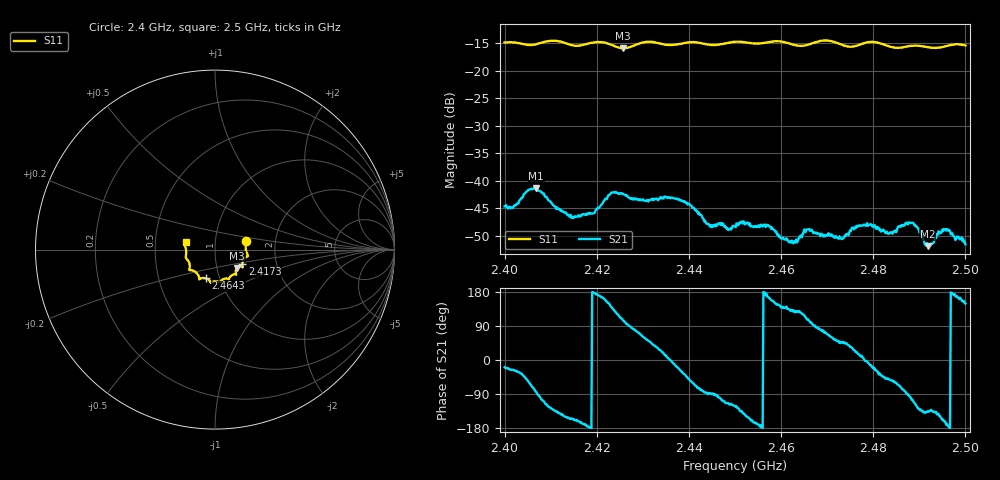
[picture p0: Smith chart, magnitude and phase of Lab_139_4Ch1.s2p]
# Hz S RI R 50
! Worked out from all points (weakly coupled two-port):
!   601 points, 2.4 GHz to 2.5 GHz, reference 50 ohm
!   highest |S21| = -41.32 dB at 2.4068 GHz (marker M1); lowest = -51.8 dB at 2.4918 GHz (marker M2)
!   lowest |S11| = -15.9 dB at 2.4257 GHz (marker M3), VSWR 1.38, Z = 62.5 - j13.1 ohm
!   |S11| at or under -10 dB: start of sweep to end of sweep
!   S12 and S22 are empty: the file has one direction only
!   S11 on the Smith chart (normalised r, x): 2.4 GHz: 1.41, +0.14; 2.4173 GHz: 1.34, -0.23; 2.4643 GHz: 0.86, -0.28; 2.5 GHz: 0.72, +0.06
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2.4e9  0.1732 0.0488  0.00556 -0.00191  0 0  0 0
2.406833e9  0.1734 -0.00819  0.000873 -0.00855  0 0  0 0
2.414e9  0.1662 -0.0473  -0.00436 -0.00217  0 0  0 0
2.416667e9  0.1526 -0.0749  -0.00467 -0.00126  0 0  0 0
2.417333e9  0.1516 -0.0822  -0.00489 -0.00085  0 0  0 0
2.423333e9  0.1427 -0.0938  -0.00572 0.00533  0 0  0 0
2.425667e9  0.1229 -0.1021  -0.00194 0.00738  0 0  0 0
2.433333e9  0.1127 -0.1376  0.00577 0.00337  0 0  0 0
2.4395e9  0.0791 -0.1614  0.00454 -0.00444  0 0  0 0
2.444667e9  0.0583 -0.1612  0.000141 -0.00384  0 0  0 0
2.45e9  0.0288 -0.181  -0.00202 -0.00329  0 0  0 0
2.457e9  -0.014 -0.1803  -0.00391 0.00083  0 0  0 0
2.462167e9  -0.0309 -0.1717  -0.00184 0.00204  0 0  0 0
2.464333e9  -0.0498 -0.1604  -0.0018 0.00264  0 0  0 0
2.466667e9  -0.0759 -0.1592  -0.00039 0.00358  0 0  0 0
2.473e9  -0.0909 -0.1468  0.00207 0.00216  0 0  0 0
2.479167e9  -0.1415 -0.1145  0.0039 -0.000762  0 0  0 0
2.483333e9  -0.1407 -0.09  0.00211 -0.00256  0 0  0 0
2.488333e9  -0.1612 -0.0485  -0.00106 -0.00404  0 0  0 0
2.491833e9  -0.1613 -0.0271  -0.00187 -0.00174  0 0  0 0
2.4955e9  -0.1652 0.0148  -0.00341 -0.00116  0 0  0 0
2.5e9  -0.164 0.0424  -0.00227 0.00137  0 0  0 0
